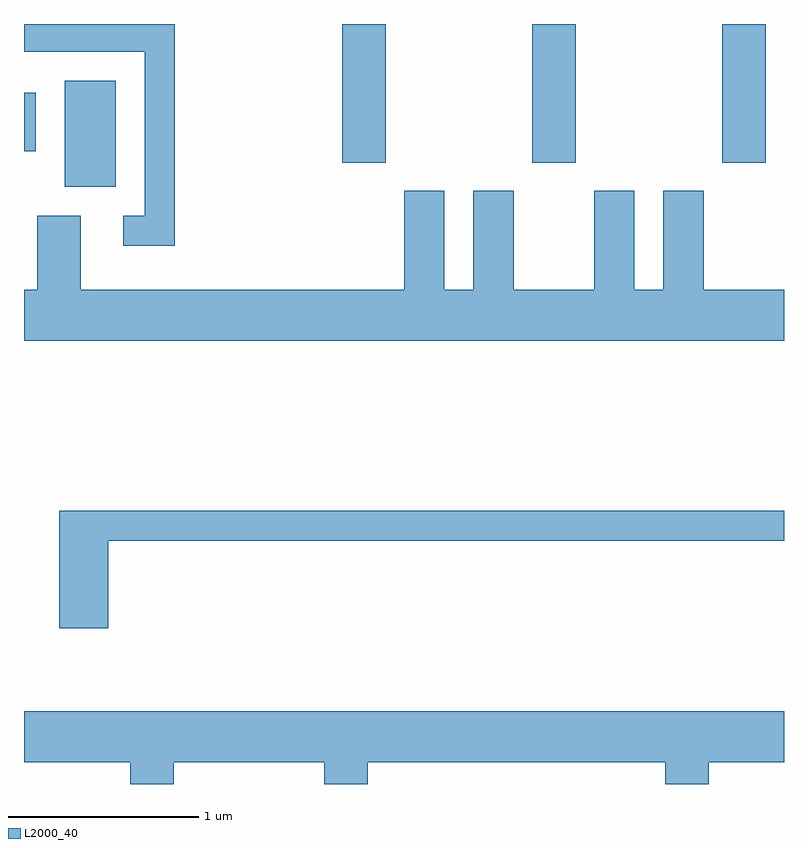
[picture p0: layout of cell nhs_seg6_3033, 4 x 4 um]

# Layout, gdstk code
import gdstk
lib = gdstk.Library(unit=1e-6, precision=1e-09)
def R(c, l, rs):  # rectangles x0, y0, x1, y1
    for r in rs: c.add(gdstk.rectangle(r[:2], r[2:], *l))
def A(c, l, x, y, w, h, nx, ny, dx, dy):  # array of equal rectangles
    R(c, l, [(x+i*dx, y+j*dy, x+i*dx+w, y+j*dy+h) for i in range(nx) for j in range(ny)])
def P(c, l, *ps):  # polygons
    for p in ps: c.add(gdstk.Polygon(p, *l))
L2000_40 = (2000, 40)

nhs_seg6_3033 = lib.new_cell('nhs_seg6_3033')
A(nhs_seg6_3033, L2000_40, 279.286, 1535.431, 0.228, 0.731, 3, 1, 1, 0)
R(nhs_seg6_3033, L2000_40, [(277.826,1535.306,278.094,1535.864), (277.611,1535.491,277.674,1535.799)])
P(nhs_seg6_3033, L2000_40, [(278.404,1536.162),(277.611,1536.162),(277.611,1536.016),(278.246,1536.016),(278.246,1535.154),(278.133,1535.154),(278.133,1534.996),(278.404,1534.996)],
  [(280.976,1535.284),(280.976,1534.764),(280.824,1534.764),(280.824,1535.284),(280.611,1535.284),(280.611,1534.764),(280.189,1534.764),(280.189,1535.284),(279.976,1535.284),(279.976,1534.764),(279.824,1534.764),(279.824,1535.284),(279.611,1535.284),(279.611,1534.764),(277.909,1534.764),(277.909,1535.154),(277.681,1535.154),(277.681,1534.764),(277.611,1534.764),(277.611,1534.496),(281.611,1534.496),(281.611,1534.764),(281.189,1534.764),(281.189,1535.284)],
  [(278.054,1533.441),(281.611,1533.441),(281.611,1533.599),(277.796,1533.599),(277.796,1532.981),(278.054,1532.981)],
  [(278.399,1532.276),(279.191,1532.276),(279.191,1532.162),(279.419,1532.162),(279.419,1532.276),(280.986,1532.276),(280.986,1532.162),(281.214,1532.162),(281.214,1532.276),(281.611,1532.276),(281.611,1532.544),(277.611,1532.544),(277.611,1532.276),(278.171,1532.276),(278.171,1532.162),(278.399,1532.162)])

lib.write_gds('nhs_seg6_3033.gds')
